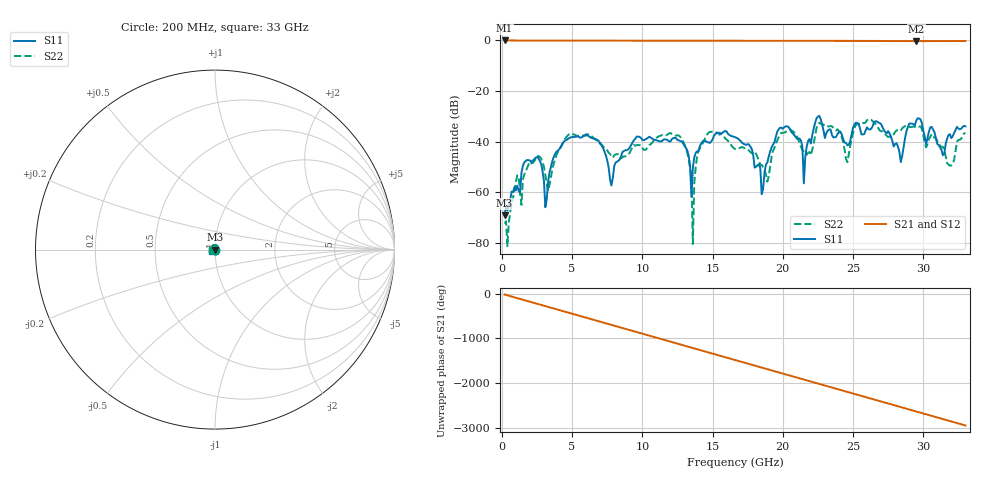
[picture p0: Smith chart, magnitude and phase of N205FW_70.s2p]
# GHZ S RI R 50
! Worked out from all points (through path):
!   329 points, 200 MHz to 33 GHz, reference 50 ohm
!   highest |S21| = -0.02 dB at 200 MHz (marker M1); lowest = -0.3 dB at 29.5 GHz (marker M2)
!   group delay of S21, straight-line fit = 248 ps
!   lowest |S11| = -69.1 dB at 200 MHz (marker M3), VSWR 1.00, Z = 50 - j0.000543 ohm
!   |S11| at or under -10 dB: start of sweep to end of sweep
!   |S22| runs from -81.3 to -31.1 dB; largest |S21 - S12| = 0.0022
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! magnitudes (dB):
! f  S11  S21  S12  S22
! 200 MHz  -69.1  0.0  0.0  -72.4
! 1.1 GHz  -57.4  -0.1  -0.1  -53.3
! 3.1 GHz  -65.9  -0.1  -0.1  -53.1
! 5.7 GHz  -38.2  -0.1  -0.1  -37.6
! 7.8 GHz  -57.4  -0.1  -0.1  -45.8
! 11.2 GHz  -39.9  -0.2  -0.2  -37.9
! 13.1 GHz  -42.4  -0.2  -0.2  -42.5
! 13.5 GHz  -61.7  -0.2  -0.2  -54.4
! 13.6 GHz  -50.4  -0.2  -0.2  -80.5
! 13.7 GHz  -46.2  -0.1  -0.1  -56.5
! 14 GHz  -43.9  -0.1  -0.1  -43.5
! 16.6 GHz  -38.2  -0.2  -0.2  -42.9
! 18.5 GHz  -60.8  -0.2  -0.2  -49.1
! 19.7 GHz  -35.2  -0.2  -0.2  -38.3
! 21.3 GHz  -39.6  -0.2  -0.2  -42.2
! 21.5 GHz  -56.5  -0.2  -0.2  -43.8
! 22.1 GHz  -37.4  -0.2  -0.2  -43.2
! 27.6 GHz  -36.7  -0.3  -0.3  -38.0
! 28.4 GHz  -48.1  -0.3  -0.3  -35.7
! 29.5 GHz  -31.8  -0.3  -0.3  -33.8
! 31.9 GHz  -37.1  -0.3  -0.3  -49.5
! 33 GHz  -33.9  -0.2  -0.2  -36.6
